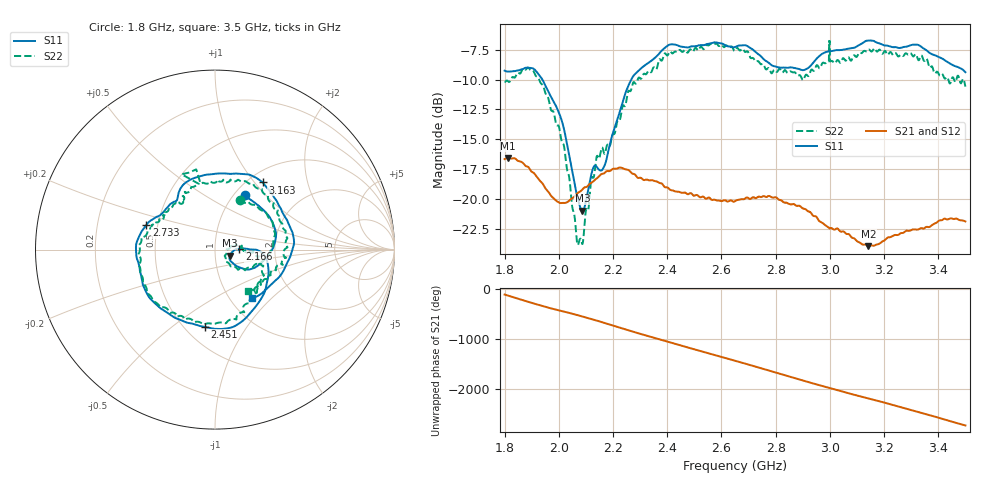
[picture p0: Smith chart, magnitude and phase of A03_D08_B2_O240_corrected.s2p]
! Created with skrf 1.9.0 (http://scikit-rf.org).
# Hz S RI R 50.0
!freq ReS11 ImS11 ReS21 ImS21 ReS12 ImS12 ReS22 ImS22
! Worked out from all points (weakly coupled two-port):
!   1601 points, 1.8 GHz to 3.5 GHz, reference 50 ohm
!   highest |S21| = -16.58 dB at 1.812 GHz (marker M1); lowest = -24.0 dB at 3.142 GHz (marker M2)
!   lowest |S11| = -21.0 dB at 2.087 GHz (marker M3), VSWR 1.20, Z = 58.9 - j3.94 ohm
!   |S11| at or under -10 dB: 1.939 GHz to 2.267 GHz (328.2 MHz wide, 15.6 % of centre)
!   |S22| runs from -23.9 to -6.8 dB; largest |S21 - S12| = 0.003
!   S11 on the Smith chart (normalised r, x): 1.8 GHz: 1.12, +0.77; 2.166 GHz: 1.31, +0.01; 2.451 GHz: 0.62, -0.66; 2.733 GHz: 0.43, +0.14; 3.163 GHz: 1.16, +1.10; 3.5 GHz: 1.27, -0.77
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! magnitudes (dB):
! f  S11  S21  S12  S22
! 1.8 GHz  -9.3  -16.7  -16.7  -10.2
! 1.812 GHz  -9.3  -16.6  -16.6  -10.1
! 1.888 GHz  -9.0  -17.4  -17.4  -9.0
! 1.942 GHz  -10.1  -18.8  -18.8  -10.5
! 2.011 GHz  -13.5  -20.4  -20.4  -15.3
! 2.067 GHz  -19.7  -19.6  -19.6  -23.6
! 2.084 GHz  -20.9  -19.3  -19.3  -23.6
! 2.087 GHz  -21.0  -19.2  -19.2  -23.8
! 2.128 GHz  -17.3  -18.5  -18.5  -18.2
! 2.166 GHz  -17.4  -17.9  -17.9  -16.1
! 2.264 GHz  -10.1  -17.7  -17.7  -11.0
! 2.367 GHz  -7.9  -18.6  -18.6  -8.5
! 2.451 GHz  -7.2  -19.5  -19.5  -7.6
! 2.65 GHz  -7.3  -20.2  -20.2  -7.6
! 2.733 GHz  -7.8  -19.9  -19.9  -8.5
! 2.812 GHz  -9.0  -20.1  -20.0  -9.1
! 2.934 GHz  -8.7  -21.3  -21.3  -9.2
! 3.142 GHz  -6.7  -24.0  -23.9  -7.5
! 3.163 GHz  -6.8  -23.9  -23.9  -7.4
! 3.217 GHz  -7.2  -23.2  -23.2  -7.8
! 3.326 GHz  -7.1  -22.6  -22.6  -8.3
! 3.5 GHz  -9.4  -21.9  -21.9  -10.6
